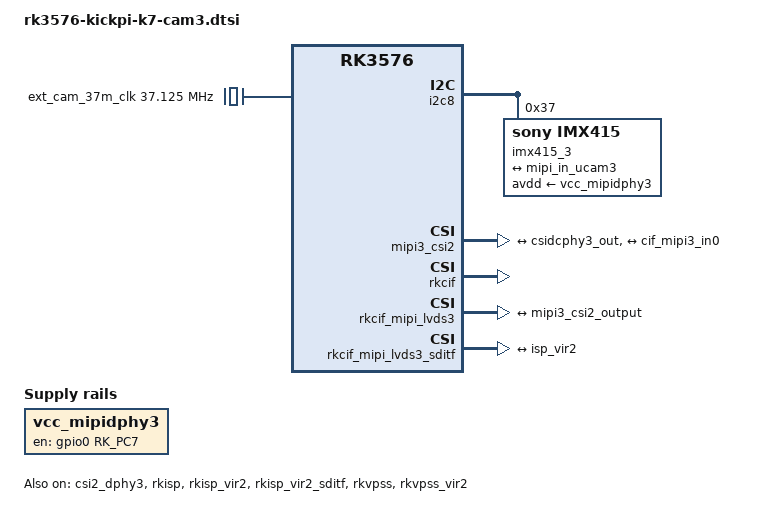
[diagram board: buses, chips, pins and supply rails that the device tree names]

/ {
	ext_cam_37m_clk: external-camera-37m-clock {
		compatible = "fixed-clock";
		clock-frequency = <37125000>;
		clock-output-names = "ext_cam_37m_clk";
		#clock-cells = <0>;
	};

    vcc_mipidphy3: vcc-mipidcphy3-regulator {
		compatible = "regulator-fixed";
		gpio = <&gpio0 RK_PC7 GPIO_ACTIVE_HIGH>;
		pinctrl-names = "default";
		pinctrl-0 = <&mipidphy3_pwr>;
		regulator-name = "vcc_mipidphy3";
		enable-active-high;
        regulator-always-on;
        regulator-boot-on;
	};
};

&pinctrl {
	cam {
        mipidphy3_pwr: mipidcphy3-pwr {
			rockchip,pins =
				/* camera power en */
				<0 RK_PC7 RK_FUNC_GPIO &pcfg_pull_none>;
		};
	};
};

&i2c8 {
	status = "okay";
	pinctrl-0 = <&i2c8m2_xfer>;

	imx415_3: imx415_3@37 {
		compatible = "sony,imx415";
		status = "okay";
		reg = <0x37>;
		clocks = <&ext_cam_37m_clk>;
		clock-names = "xvclk";
		power-domains = <&power RK3576_PD_VI>;
		avdd-supply = <&vcc_mipidphy3>;
		rockchip,camera-module-index = <2>;
		rockchip,camera-module-facing = "back";
		rockchip,camera-module-name = "CMK-OT2022-PX1";
		rockchip,camera-module-lens-name = "IR0147-50IRC-8M-F20";

		port {
			imx415_out3: endpoint {
				remote-endpoint = <&mipi_in_ucam3>;
				data-lanes = <1 2 3 4>;
			};
		};
	};
};

&csi2_dphy3 {
	status = "okay";

	ports {
		#address-cells = <1>;
		#size-cells = <0>;
		port@0 {
			reg = <0>;
			#address-cells = <1>;
			#size-cells = <0>;

			mipi_in_ucam3: endpoint@1 {
				reg = <1>;
				remote-endpoint = <&imx415_out3>;
				data-lanes = <1 2 3 4>;
			};
		};
		port@1 {
			reg = <1>;
			#address-cells = <1>;
			#size-cells = <0>;

			csidcphy3_out: endpoint@0 {
				reg = <0>;
				remote-endpoint = <&mipi3_csi2_input>;
			};
		};
	};
};

&mipi3_csi2 {
	status = "okay";

	ports {
		#address-cells = <1>;
		#size-cells = <0>;

		port@0 {
			reg = <0>;
			#address-cells = <1>;
			#size-cells = <0>;

			mipi3_csi2_input: endpoint@1 {
				reg = <1>;
				remote-endpoint = <&csidcphy3_out>;
			};
		};

		port@1 {
			reg = <1>;
			#address-cells = <1>;
			#size-cells = <0>;

			mipi3_csi2_output: endpoint@0 {
				reg = <0>;
				remote-endpoint = <&cif_mipi3_in0>;
			};
		};
	};
};

&rkcif {
	status = "okay";
};

&rkcif_mipi_lvds3 {
	status = "okay";

	port {
		cif_mipi3_in0: endpoint {
			remote-endpoint = <&mipi3_csi2_output>;
		};
	};
};

&rkcif_mipi_lvds3_sditf {
	status = "okay";

	port {
		mipi_lvds3_sditf: endpoint {
			remote-endpoint = <&isp_vir2>;
		};
	};
};

&rkcif_mmu {
	status = "okay";
};

&rkisp {
	status = "okay";
};

&rkisp_mmu {
	status = "okay";
};

&rkisp_vir2 {
	status = "okay";

	port {
		#address-cells = <1>;
		#size-cells = <0>;

		isp_vir2: endpoint@0 {
			reg = <0>;
			remote-endpoint = <&mipi_lvds3_sditf>;
		};
	};
};

&rkisp_vir2_sditf {
	status = "okay";
};

&rkvpss {
	status = "okay";
};

&rkvpss_mmu {
	status = "okay";
};

&rkvpss_vir2 {
	status = "okay";
};
